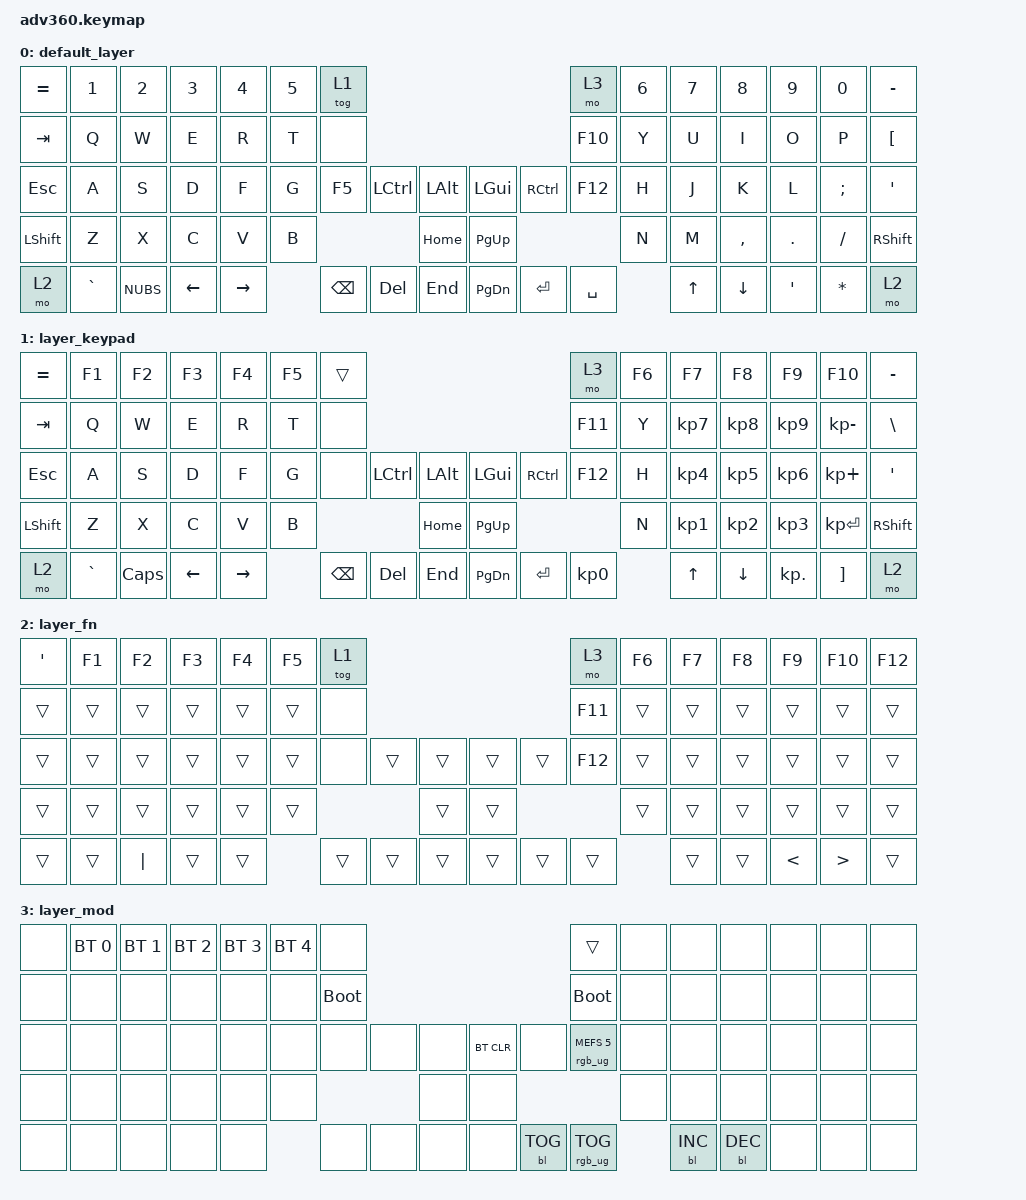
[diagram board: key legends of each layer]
/*
 * Copyright (c) 2020 The ZMK Contributors
 *
 * SPDX-License-Identifier: MIT
 */
/* THIS FILE WAS GENERATED!
 *
 * This file was generated automatically. You may or may not want to
 * edit it directly.
 */

#include <behaviors.dtsi>
#include <dt-bindings/zmk/backlight.h>
#include <dt-bindings/zmk/bt.h>
#include <dt-bindings/zmk/keys.h>
#include <dt-bindings/zmk/rgb.h>

/ {
    behaviors {
        #include "macros.dtsi"

        hm: homerow_mods {
            compatible = "zmk,behavior-hold-tap";
            label = "HOMEROW_MODS";
            #binding-cells = <2>;
            tapping-term-ms = <200>;
            quick_tap_ms = <175>;
            flavor = "tap-preferred";
            bindings = <&kp>, <&kp>;
        };
    };

    combos {
        compatible = "zmk,combos";

        comb_left_brace {
            bindings = <&kp LEFT_BRACE>;
            key-positions = <35 36 73>;
            layers = <0>;
        };

        combo_right_brace {
            bindings = <&kp RIGHT_BRACE>;
            key-positions = <35 36 74>;
            layers = <0>;
        };

        combo_less_than {
            bindings = <&kp LESS_THAN>;
            key-positions = <46 73>;
            layers = <0>;
        };

        combo_greater_than {
            bindings = <&kp GREATER_THAN>;
            key-positions = <46 74>;
            layers = <0>;
        };
    };

    keymap {
        compatible = "zmk,keymap";

        default_layer {
            bindings = <
&kp EQUAL  &kp N1     &kp N2    &kp N3    &kp N4     &kp N5  &tog 1                                                   &mo 3      &kp N6  &kp N7  &kp N8     &kp N9            &kp N0        &kp MINUS
&kp TAB    &kp Q      &kp W     &kp E     &kp R      &kp T   &none                                                    &kp F10    &kp Y   &kp U   &kp I      &kp O             &kp P         &kp LBKT
&kp ESC    &kp A      &kp S     &kp D     &kp F      &kp G   &kp F5    &kp LCTRL  &kp LALT      &kp LGUI   &kp RCTRL  &kp F12    &kp H   &kp J   &kp K      &kp L             &kp SEMI      &kp SQT
&kp LSHFT  &kp Z      &kp X     &kp C     &kp V      &kp B                        &kp HOME      &kp PG_UP                        &kp N   &kp M   &kp COMMA  &kp DOT           &kp FSLH      &kp RSHFT
&mo 2      &kp GRAVE  &kp NUBS  &kp LEFT  &kp RIGHT          &kp BSPC  &kp DEL    &kp END       &kp PG_DN  &kp ENTER  &kp SPACE          &kp UP  &kp DOWN   &kp SINGLE_QUOTE  &kp ASTERISK  &mo 2
            >;
        };

        layer_keypad {
            bindings = <
&kp EQUAL  &kp F1     &kp F2    &kp F3    &kp F4     &kp F5  &trans                                                   &mo 3      &kp F6  &kp F7     &kp F8     &kp F9      &kp F10       &kp MINUS
&kp TAB    &kp Q      &kp W     &kp E     &kp R      &kp T   &none                                                    &kp F11    &kp Y   &kp KP_N7  &kp KP_N8  &kp KP_N9   &kp KP_MINUS  &kp BSLH
&kp ESC    &kp A      &kp S     &kp D     &kp F      &kp G   &none     &kp LCTRL  &kp LALT      &kp LGUI   &kp RCTRL  &kp F12    &kp H   &kp KP_N4  &kp KP_N5  &kp KP_N6   &kp KP_PLUS   &kp SQT
&kp LSHFT  &kp Z      &kp X     &kp C     &kp V      &kp B                        &kp HOME      &kp PG_UP                        &kp N   &kp KP_N1  &kp KP_N2  &kp KP_N3   &kp KP_ENTER  &kp RSHFT
&mo 2      &kp GRAVE  &kp CAPS  &kp LEFT  &kp RIGHT          &kp BSPC  &kp DEL    &kp END       &kp PG_DN  &kp ENTER  &kp KP_N0          &kp UP     &kp DOWN   &kp KP_DOT  &kp RBKT      &mo 2
            >;
        };

        layer_fn {
            bindings = <
&kp SINGLE_QUOTE  &kp F1  &kp F2    &kp F3  &kp F4  &kp F5  &tog 1                                      &mo 3    &kp F6  &kp F7  &kp F8  &kp F9         &kp F10           &kp F12
&trans            &trans  &trans    &trans  &trans  &trans  &none                                       &kp F11  &trans  &trans  &trans  &trans         &trans            &trans
&trans            &trans  &trans    &trans  &trans  &trans  &none   &trans  &trans      &trans  &trans  &kp F12  &trans  &trans  &trans  &trans         &trans            &trans
&trans            &trans  &trans    &trans  &trans  &trans                  &trans      &trans                   &trans  &trans  &trans  &trans         &trans            &trans
&trans            &trans  &kp PIPE  &trans  &trans          &trans  &trans  &trans      &trans  &trans  &trans           &trans  &trans  &kp LESS_THAN  &kp GREATER_THAN  &trans
            >;
        };

        layer_mod {
            bindings = <
&none  &bt BT_SEL 0  &bt BT_SEL 1  &bt BT_SEL 2  &bt BT_SEL 3  &bt BT_SEL 4  &none                                                  &trans                  &none  &none       &none       &none  &none  &none
&none  &none         &none         &none         &none         &none         &bootloader                                            &bootloader             &none  &none       &none       &none  &none  &none
&none  &none         &none         &none         &none         &none         &none        &none  &none      &bt BT_CLR  &none       &rgb_ug RGB_MEFS_CMD 5  &none  &none       &none       &none  &none  &none
&none  &none         &none         &none         &none         &none                             &none      &none                                           &none  &none       &none       &none  &none  &none
&none  &none         &none         &none         &none                       &none        &none  &none      &none       &bl BL_TOG  &rgb_ug RGB_TOG                &bl BL_INC  &bl BL_DEC  &none  &none  &none
            >;
        };
    };
};
